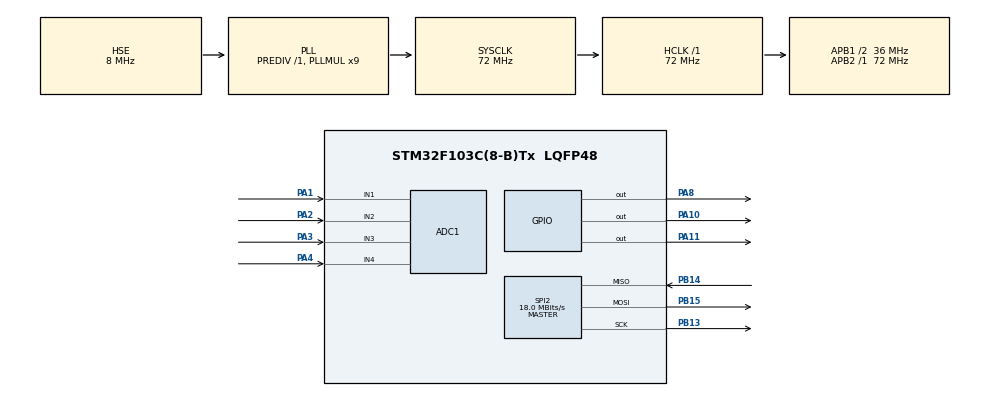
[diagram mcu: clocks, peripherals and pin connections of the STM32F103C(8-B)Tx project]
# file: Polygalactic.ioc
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ADC1.Channel-0\#ChannelRegularConversion=ADC_CHANNEL_1
ADC1.Channel-1\#ChannelRegularConversion=ADC_CHANNEL_2
ADC1.Channel-2\#ChannelRegularConversion=ADC_CHANNEL_3
ADC1.Channel-3\#ChannelRegularConversion=ADC_CHANNEL_4
ADC1.ContinuousConvMode=ENABLE
ADC1.NbrOfConversion=4
ADC1.NbrOfConversionFlag=1
ADC1.Rank-0\#ChannelRegularConversion=1
ADC1.Rank-1\#ChannelRegularConversion=2
ADC1.Rank-2\#ChannelRegularConversion=3
ADC1.Rank-3\#ChannelRegularConversion=4
ADC1.SamplingTime-0\#ChannelRegularConversion=ADC_SAMPLETIME_55CYCLES_5
ADC1.SamplingTime-1\#ChannelRegularConversion=ADC_SAMPLETIME_55CYCLES_5
ADC1.SamplingTime-2\#ChannelRegularConversion=ADC_SAMPLETIME_55CYCLES_5
ADC1.SamplingTime-3\#ChannelRegularConversion=ADC_SAMPLETIME_55CYCLES_5
ADC1.master=1
Dma.ADC1.1.Direction=DMA_PERIPH_TO_MEMORY
Dma.ADC1.1.Instance=DMA1_Channel1
Dma.ADC1.1.MemDataAlignment=DMA_MDATAALIGN_WORD
Dma.ADC1.1.MemInc=DMA_MINC_ENABLE
Dma.ADC1.1.Mode=DMA_CIRCULAR
Dma.ADC1.1.PeriphDataAlignment=DMA_PDATAALIGN_WORD
Dma.ADC1.1.PeriphInc=DMA_PINC_DISABLE
Dma.ADC1.1.Priority=DMA_PRIORITY_LOW
Dma.Request0=SPI2_TX
Dma.Request1=ADC1
Dma.SPI2_TX.0.Direction=DMA_MEMORY_TO_PERIPH
Dma.SPI2_TX.0.Instance=DMA1_Channel5
Dma.SPI2_TX.0.MemDataAlignment=DMA_MDATAALIGN_BYTE
Dma.SPI2_TX.0.MemInc=DMA_MINC_ENABLE
Dma.SPI2_TX.0.Mode=DMA_NORMAL
Dma.SPI2_TX.0.PeriphDataAlignment=DMA_PDATAALIGN_BYTE
Dma.SPI2_TX.0.PeriphInc=DMA_PINC_DISABLE
Dma.SPI2_TX.0.Priority=DMA_PRIORITY_HIGH
Mcu.Family=STM32F1
Mcu.Name=STM32F103C(8-B)Tx
Mcu.Package=LQFP48
NVIC.DMA1_Channel1_IRQn=true\:0\:0\:false\:false\:true\:false\:true\:true
NVIC.DMA1_Channel5_IRQn=true\:0\:0\:false\:false\:true\:false\:true\:true
NVIC.PriorityGroup=NVIC_PRIORITYGROUP_4
PA1.Signal=ADCx_IN1
PA10.GPIO_Speed=GPIO_SPEED_FREQ_HIGH
PA10.PinState=GPIO_PIN_SET
PA10.Signal=GPIO_Output
PA11.GPIO_Speed=GPIO_SPEED_FREQ_HIGH
PA11.PinState=GPIO_PIN_SET
PA11.Signal=GPIO_Output
PA13.Mode=Serial_Wire
PA13.Signal=SYS_JTMS-SWDIO
PA14.Mode=Serial_Wire
PA14.Signal=SYS_JTCK-SWCLK
PA2.Signal=ADCx_IN2
PA3.Signal=ADCx_IN3
PA4.Signal=ADCx_IN4
PA8.GPIO_Speed=GPIO_SPEED_FREQ_HIGH
PA8.PinState=GPIO_PIN_SET
PA8.Signal=GPIO_Output
PB13.Mode=Full_Duplex_Master
PB13.Signal=SPI2_SCK
PB14.Mode=Full_Duplex_Master
PB14.Signal=SPI2_MISO
PB15.Mode=Full_Duplex_Master
PB15.Signal=SPI2_MOSI
PD0-OSC_IN.Mode=HSE-External-Oscillator
PD0-OSC_IN.Signal=RCC_OSC_IN
PD1-OSC_OUT.Mode=HSE-External-Oscillator
PD1-OSC_OUT.Signal=RCC_OSC_OUT
ProjectManager.HeapSize=0x200
ProjectManager.StackSize=0x400
ProjectManager.TargetToolchain=STM32CubeIDE
RCC.ADCPresc=RCC_ADCPCLK2_DIV6
RCC.AHBFreq_Value=72000000
RCC.APB1CLKDivider=RCC_HCLK_DIV2
RCC.APB1Freq_Value=36000000
RCC.APB1TimFreq_Value=72000000
RCC.APB2Freq_Value=72000000
RCC.APB2TimFreq_Value=72000000
RCC.HCLKFreq_Value=72000000
RCC.PLLMUL=RCC_PLL_MUL9
RCC.PLLSourceVirtual=RCC_PLLSOURCE_HSE
RCC.SYSCLKFreq_VALUE=72000000
RCC.SYSCLKSource=RCC_SYSCLKSOURCE_PLLCLK
RCC.USBFreq_Value=72000000
SH.ADCx_IN1.0=ADC1_IN1,IN1
SH.ADCx_IN2.0=ADC1_IN2,IN2
SH.ADCx_IN3.0=ADC1_IN3,IN3
SH.ADCx_IN4.0=ADC1_IN4,IN4
SPI2.BaudRatePrescaler=SPI_BAUDRATEPRESCALER_2
SPI2.CalculateBaudRate=18.0 MBits/s
SPI2.Direction=SPI_DIRECTION_2LINES
SPI2.Mode=SPI_MODE_MASTER
SPI2.VirtualType=VM_MASTER
board=custom

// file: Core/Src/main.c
/* USER CODE BEGIN Header */
/**
  ******************************************************************************
  * Polygalactic - An old school astroid shooting game
  * Developer: Dominik Glozinic
  ******************************************************************************
  */
/* USER CODE END Header */
#include "main.h"

/* USER CODE BEGIN Includes */
#include "ili9341.h"
#include "fonts.h"
#include <math.h>
#include <stdlib.h>
#include "spaceship.h"
#include "bullet.h"
#include "meteor.h"
/* USER CODE END Includes */

ADC_HandleTypeDef hadc1;
DMA_HandleTypeDef hdma_adc1;

SPI_HandleTypeDef hspi2;
DMA_HandleTypeDef hdma_spi2_tx;

/* USER CODE BEGIN PV */
uint32_t adc_buffer[4];

Spaceship  ship;
BulletPool bullets;
MeteorPool meteors;
/* USER CODE END PV */

void SystemClock_Config(void);
static void MX_GPIO_Init(void);
static void MX_DMA_Init(void);
static void MX_SPI2_Init(void);
static void MX_ADC1_Init(void);
/* USER CODE BEGIN PFP */
static void DrawHUD(int8_t hp);
static void DrawGameOver(void);
static void DrawStartMenu(void);
static void WaitForStart(void);
/* USER CODE END PFP */

/* USER CODE BEGIN 0 */
static const char * const TITLE[] = {
    " ____  ___  _  _  _  _  ___   __   __   __   __  ____  __  ____ ",
    "(  _ \\/ __)( \\/ )( \\/ )/ __) / _\\ (  ) / _\\ / _\\(_  _)(  )/ ___)",
    " ) __/\\__ \\ )  (  )  /( (_ \\/    \\ )( /    \\/    \\ )(   )(( (__ ",
    "(__)  (___/(_/\\_)(_/\\_) \\___/\\_/\\_/(__)\_/\\_/\_/\_/(__) (__)\\___)  ",
};

#define TITLE_LINES  4
/* USER CODE END 0 */

int main(void)
{

  /* MCU Configuration--------------------------------------------------------*/

  /* Reset of all peripherals, Initializes the Flash interface and the Systick. */
  HAL_Init();

  /* Configure the system clock */
  SystemClock_Config();

  /* Initialize all configured peripherals */
  MX_GPIO_Init();
  MX_DMA_Init();
  MX_SPI2_Init();
  MX_ADC1_Init();

  /* USER CODE BEGIN 2 */

  HAL_ADC_Start_DMA(&hadc1, (uint32_t*)adc_buffer, 4);
  HAL_Delay(50);

  ILI9341_Init();
  ILI9341_FillScreen(COLOR_BLACK);

  Ship_Init(&ship);
  Bullets_Init(&bullets);
  Meteors_Init(&meteors);

  DrawStartMenu();
  WaitForStart();

  // begin game
  ILI9341_FillScreen(COLOR_BLACK);
  Ship_Draw(&ship);
  DrawHUD(ship.hp);

  #define FRAME_MS      33u
  #define SHOT_COOLDOWN 200u
  #define SPAWN_FRAMES  120u

  uint32_t lastTick   = HAL_GetTick();
  uint32_t spawnTimer = 0;
  uint8_t  gameOver   = 0;

  /* USER CODE END 2 */

  /* Infinite loop */
  /* USER CODE BEGIN WHILE */
    while (1)
    {

        uint32_t now = HAL_GetTick();

        if (gameOver) {
        	HAL_Delay(10);
        	continue;
        }

        if (now - lastTick < FRAME_MS) continue;
        lastTick = now;

        Ship_Update(&ship, adc_buffer);

        int32_t rx = -((int32_t)adc_buffer[2] - JOY_CENTRE);
        int32_t ry =   (int32_t)adc_buffer[3]  - JOY_CENTRE;

        if (abs(rx) > JOY_DEADZONE || abs(ry) > JOY_DEADZONE) {
            if (now - ship.lastShotTick >= SHOT_COOLDOWN) {
                ship.lastShotTick = now;
                Bullets_Spawn(&bullets, ship.x, ship.y, ship.angle);
            }
        }

        Bullets_Update(&bullets);
        Meteors_Update(&meteors);
        Bullets_CheckMeteorCollisions(&bullets, &meteors);

        if (Meteors_CheckShipCollision(&meteors, ship.x, ship.y,
                                        (float)SHIP_SIZE)) {
            int8_t prevHp = ship.hp;
            if (Ship_TakeDamage(&ship)) {
                gameOver = 1;
                Ship_Draw(&ship);
                HAL_Delay(400);
                DrawGameOver();
                continue;
            }
            if (ship.hp != prevHp) DrawHUD(ship.hp);
        }

        spawnTimer++;
        if (spawnTimer >= SPAWN_FRAMES) {
            spawnTimer = 0;
            Meteors_Spawn(&meteors);
        }

        Ship_Draw(&ship);
        Bullets_Draw(&bullets);
        Meteors_Draw(&meteors);

    /* USER CODE END WHILE */

    }
}

void SystemClock_Config(void)
{
  RCC_OscInitTypeDef RCC_OscInitStruct = {0};
  RCC_ClkInitTypeDef RCC_ClkInitStruct = {0};
  RCC_PeriphCLKInitTypeDef PeriphClkInit = {0};

  /** Initializes the RCC Oscillators according to the specified parameters
  * in the RCC_OscInitTypeDef structure.
  */
  RCC_OscInitStruct.OscillatorType = RCC_OSCILLATORTYPE_HSE;
  RCC_OscInitStruct.HSEState = RCC_HSE_ON;
  RCC_OscInitStruct.HSEPredivValue = RCC_HSE_PREDIV_DIV1;
  RCC_OscInitStruct.HSIState = RCC_HSI_ON;
  RCC_OscInitStruct.PLL.PLLState = RCC_PLL_ON;
  RCC_OscInitStruct.PLL.PLLSource = RCC_PLLSOURCE_HSE;
  RCC_OscInitStruct.PLL.PLLMUL = RCC_PLL_MUL9;
  if (HAL_RCC_OscConfig(&RCC_OscInitStruct) != HAL_OK)
  {
    Error_Handler();
  }

  /** Initializes the CPU, AHB and APB buses clocks
  */
  RCC_ClkInitStruct.ClockType = RCC_CLOCKTYPE_HCLK|RCC_CLOCKTYPE_SYSCLK
                              |RCC_CLOCKTYPE_PCLK1|RCC_CLOCKTYPE_PCLK2;
  RCC_ClkInitStruct.SYSCLKSource = RCC_SYSCLKSOURCE_PLLCLK;
  RCC_ClkInitStruct.AHBCLKDivider = RCC_SYSCLK_DIV1;
  RCC_ClkInitStruct.APB1CLKDivider = RCC_HCLK_DIV2;
  RCC_ClkInitStruct.APB2CLKDivider = RCC_HCLK_DIV1;

  if (HAL_RCC_ClockConfig(&RCC_ClkInitStruct, FLASH_LATENCY_2) != HAL_OK)
  {
    Error_Handler();
  }
  PeriphClkInit.PeriphClockSelection = RCC_PERIPHCLK_ADC;
  PeriphClkInit.AdcClockSelection = RCC_ADCPCLK2_DIV6;
  if (HAL_RCCEx_PeriphCLKConfig(&PeriphClkInit) != HAL_OK)
  {
    Error_Handler();
  }
}

static void MX_ADC1_Init(void)
{

  ADC_ChannelConfTypeDef sConfig = {0};

  /** Common config
  */
  hadc1.Instance = ADC1;
  hadc1.Init.ScanConvMode = ADC_SCAN_ENABLE;
  hadc1.Init.ContinuousConvMode = ENABLE;
  hadc1.Init.DiscontinuousConvMode = DISABLE;
  hadc1.Init.ExternalTrigConv = ADC_SOFTWARE_START;
  hadc1.Init.DataAlign = ADC_DATAALIGN_RIGHT;
  hadc1.Init.NbrOfConversion = 4;
  if (HAL_ADC_Init(&hadc1) != HAL_OK)
  {
    Error_Handler();
  }

  /** Configure Regular Channel
  */
  sConfig.Channel = ADC_CHANNEL_1;
  sConfig.Rank = ADC_REGULAR_RANK_1;
  sConfig.SamplingTime = ADC_SAMPLETIME_55CYCLES_5;
  if (HAL_ADC_ConfigChannel(&hadc1, &sConfig) != HAL_OK)
  {
    Error_Handler();
  }

  /** Configure Regular Channel
  */
  sConfig.Channel = ADC_CHANNEL_2;
  sConfig.Rank = ADC_REGULAR_RANK_2;
  if (HAL_ADC_ConfigChannel(&hadc1, &sConfig) != HAL_OK)
  {
    Error_Handler();
  }

  /** Configure Regular Channel
  */
  sConfig.Channel = ADC_CHANNEL_3;
  sConfig.Rank = ADC_REGULAR_RANK_3;
  if (HAL_ADC_ConfigChannel(&hadc1, &sConfig) != HAL_OK)
  {
    Error_Handler();
  }

  /** Configure Regular Channel
  */
  sConfig.Channel = ADC_CHANNEL_4;
  sConfig.Rank = ADC_REGULAR_RANK_4;
  if (HAL_ADC_ConfigChannel(&hadc1, &sConfig) != HAL_OK)
  {
    Error_Handler();
  }

}

static void MX_SPI2_Init(void)
{

  /* SPI2 parameter configuration*/
  hspi2.Instance = SPI2;
  hspi2.Init.Mode = SPI_MODE_MASTER;
  hspi2.Init.Direction = SPI_DIRECTION_2LINES;
  hspi2.Init.DataSize = SPI_DATASIZE_8BIT;
  hspi2.Init.CLKPolarity = SPI_POLARITY_LOW;
  hspi2.Init.CLKPhase = SPI_PHASE_1EDGE;
  hspi2.Init.NSS = SPI_NSS_SOFT;
  hspi2.Init.BaudRatePrescaler = SPI_BAUDRATEPRESCALER_2;
  hspi2.Init.FirstBit = SPI_FIRSTBIT_MSB;
  hspi2.Init.TIMode = SPI_TIMODE_DISABLE;
  hspi2.Init.CRCCalculation = SPI_CRCCALCULATION_DISABLE;
  hspi2.Init.CRCPolynomial = 10;
  if (HAL_SPI_Init(&hspi2) != HAL_OK)
  {
    Error_Handler();
  }

}

static void MX_DMA_Init(void)
{

  /* DMA controller clock enable */
  __HAL_RCC_DMA1_CLK_ENABLE();

  /* DMA interrupt init */
  /* DMA1_Channel1_IRQn interrupt configuration */
  HAL_NVIC_SetPriority(DMA1_Channel1_IRQn, 0, 0);
  HAL_NVIC_EnableIRQ(DMA1_Channel1_IRQn);
  /* DMA1_Channel5_IRQn interrupt configuration */
  HAL_NVIC_SetPriority(DMA1_Channel5_IRQn, 0, 0);
  HAL_NVIC_EnableIRQ(DMA1_Channel5_IRQn);

}

static void MX_GPIO_Init(void)
{
  GPIO_InitTypeDef GPIO_InitStruct = {0};

  /* GPIO Ports Clock Enable */
  __HAL_RCC_GPIOD_CLK_ENABLE();
  __HAL_RCC_GPIOA_CLK_ENABLE();
  __HAL_RCC_GPIOB_CLK_ENABLE();

  /*Configure GPIO pin Output Level */
  HAL_GPIO_WritePin(GPIOA, GPIO_PIN_8|GPIO_PIN_10|GPIO_PIN_11, GPIO_PIN_SET);

  /*Configure GPIO pins : PA8 PA10 PA11 */
  GPIO_InitStruct.Pin = GPIO_PIN_8|GPIO_PIN_10|GPIO_PIN_11;
  GPIO_InitStruct.Mode = GPIO_MODE_OUTPUT_PP;
  GPIO_InitStruct.Pull = GPIO_NOPULL;
  GPIO_InitStruct.Speed = GPIO_SPEED_FREQ_HIGH;
  HAL_GPIO_Init(GPIOA, &GPIO_InitStruct);

}

/* USER CODE BEGIN 4 */

static void DrawStartMenu(void)
{

    ILI9341_WriteString(64, 18, "POLYGALACTIC", Font_16x26,
                         ILI9341_CYAN, COLOR_BLACK);

    ILI9341_WriteString(93, 52, "~ SHOOT THE ROCKS ~", Font_7x10,
                         ILI9341_YELLOW, COLOR_BLACK);

    // Horizontal rule lines
    ILI9341_FillRectangle(20, 68, 280, 1, ILI9341_CYAN);
    ILI9341_FillRectangle(20, 70, 280, 1, ILI9341_CYAN);

    ship.needsErase = 0;
    Ship_Draw(&ship);

    ILI9341_WriteString(88, 170, "Move to Start", Font_11x18,
                         ILI9341_WHITE, COLOR_BLACK);

    // Small corner stars
    ILI9341_FillRectangle(10,  10,  2, 2, ILI9341_WHITE);
    ILI9341_FillRectangle(308, 10,  2, 2, ILI9341_WHITE);
    ILI9341_FillRectangle(10,  228, 2, 2, ILI9341_WHITE);
    ILI9341_FillRectangle(308, 228, 2, 2, ILI9341_WHITE);
    ILI9341_FillRectangle(160, 8,   2, 2, ILI9341_WHITE);
    ILI9341_FillRectangle(50,  230, 2, 2, ILI9341_WHITE);
    ILI9341_FillRectangle(268, 230, 2, 2, ILI9341_WHITE);
}

static void WaitForStart(void)
{
    // Save resting position
    uint32_t restX = adc_buffer[1];
    uint32_t restY = adc_buffer[0];
    (void)restX;
    (void)restY;  // used via JOY_DEADZONE check

    while (1) {
        HAL_Delay(20);

        int32_t lx = -((int32_t)adc_buffer[1] - JOY_CENTRE);
        int32_t ly =   (int32_t)adc_buffer[0]  - JOY_CENTRE;

        if (abs(lx) > JOY_DEADZONE || abs(ly) > JOY_DEADZONE) {

            // Erase title area
            ILI9341_FillRectangle(0, 0, SCREEN_W, 75, COLOR_BLACK);

            // Erase "Move to Start"
            ILI9341_FillRectangle(0, 160, SCREEN_W, 30, COLOR_BLACK);

            // Erase corner stars
            ILI9341_FillRectangle(0, 220, SCREEN_W, 20, COLOR_BLACK);
            return;
        }
    }
}

static void DrawHUD(int8_t hp)
{
    #define HUD_X    5
    #define HUD_Y    5
    #define HUD_SZ   8
    #define HUD_GAP  3
    for (int i = 0; i < SHIP_MAX_HP; i++) {
        uint16_t col = (i < hp) ? ILI9341_GREEN : COLOR_BLACK;
        ILI9341_FillRectangle(HUD_X + i * (HUD_SZ + HUD_GAP), HUD_Y,
                               HUD_SZ, HUD_SZ, col);
        if (i >= hp) {
            ILI9341_DrawRectangle(HUD_X + i * (HUD_SZ + HUD_GAP), HUD_Y,
                                   HUD_SZ, HUD_SZ, ILI9341_DARKGREY);
        }
    }
}

static void DrawGameOver(void)
{
    ILI9341_FillScreen(COLOR_BLACK);
    ILI9341_WriteString(80, 95,  "GAME  OVER",        Font_16x26, ILI9341_RED,   COLOR_BLACK);
    ILI9341_WriteString(55, 140, "Reset to play again", Font_11x18, ILI9341_WHITE, COLOR_BLACK);
}

/* USER CODE END 4 */

void Error_Handler(void)
{
  __disable_irq();
  while (1)
  {
  }
}
